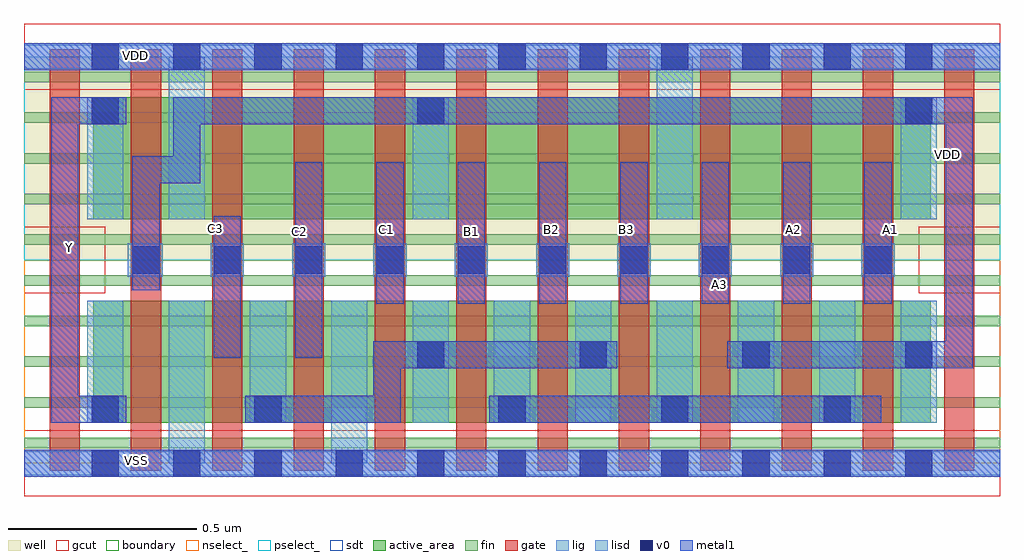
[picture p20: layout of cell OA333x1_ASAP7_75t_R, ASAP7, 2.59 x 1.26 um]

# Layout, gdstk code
import gdstk
lib = gdstk.Library(unit=1e-6, precision=1e-09)
def R(c, l, rs):  # rectangles x0, y0, x1, y1
    for r in rs: c.add(gdstk.rectangle(r[:2], r[2:], *l))
def A(c, l, x, y, w, h, nx, ny, dx, dy):  # array of equal rectangles
    R(c, l, [(x+i*dx, y+j*dy, x+i*dx+w, y+j*dy+h) for i in range(nx) for j in range(ny)])
def P(c, l, *ps):  # polygons
    for p in ps: c.add(gdstk.Polygon(p, *l))
well = (1, 0)
fin = (2, 0)
gate = (7, 0)
gcut = (10, 0)
active_area = (11, 0)
nselect_ = (12, 0)
pselect_ = (13, 0)
lig = (16, 0)
lisd = (17, 0)
v0 = (18, 0)
metal1 = (19, 0)
sdt = (88, 0)
boundary = (100, 0)

oa333x1_asap7_75t_r = lib.new_cell('OA333x1_ASAP7_75t_R')
R(oa333x1_asap7_75t_r, well, [(0,0.54,0.648,1.08), (0.216,0.54,2.592,1.08)])
A(oa333x1_asap7_75t_r, fin, 0, 0.04, 0.648, 0.028, 1, 10, 0, 0.108)
A(oa333x1_asap7_75t_r, fin, 0.216, 0.04, 2.376, 0.028, 1, 10, 0, 0.108)
A(oa333x1_asap7_75t_r, gate, 0.5, -0.02, 0.08, 1.12, 10, 1, 0.216, 0)
R(oa333x1_asap7_75t_r, gate, [(0.068,-0.02,0.148,1.1), (0.284,-0.02,0.364,1.1), (0.284,-0.02,0.364,1.1), (0.284,-0.02,0.364,1.1), (0.5,-0.02,0.58,1.1)])
R(oa333x1_asap7_75t_r, gcut, [(0,-0.088,0.648,0.088), (0.216,-0.088,2.592,0.088), (0.216,-0.088,0.608,0.088), (2.2,-0.088,2.592,0.088), (0,0.452,0.216,0.628), (2.376,0.452,2.592,0.628), (0,0.992,0.648,1.168), (0.216,0.992,2.592,1.168), (0.216,0.992,0.608,1.168), (2.2,0.992,2.592,1.168)])
R(oa333x1_asap7_75t_r, active_area, [(0.184,0.108,2.408,0.432), (0.184,0.648,2.408,0.972)])
R(oa333x1_asap7_75t_r, nselect_, [(0,0,2.592,0.54)])
R(oa333x1_asap7_75t_r, pselect_, [(0,0.54,0.648,1.08), (0.216,0.54,2.592,1.08)])
A(oa333x1_asap7_75t_r, lig, 0.496, 0.496, 0.088, 0.088, 9, 1, 0.216, 0)
R(oa333x1_asap7_75t_r, lig, [(0,-0.032,0.648,0.032), (0.216,-0.032,2.592,0.032), (0.276,0.496,0.368,0.584), (0,1.048,0.648,1.112), (0.216,1.048,2.592,1.112)])
A(oa333x1_asap7_75t_r, lisd, 0.168, 0.108, 0.096, 0.324, 3, 1, 0.432, 0)
A(oa333x1_asap7_75t_r, lisd, 1.248, 0.108, 0.096, 0.324, 6, 1, 0.216, 0)
R(oa333x1_asap7_75t_r, lisd, [(0.384,0,0.48,0.432), (0.816,0,0.912,0.432), (0.168,0.648,0.264,0.972), (0.384,0.648,0.48,1.08), (1.032,0.648,1.128,0.972), (1.68,0.648,1.776,1.08), (2.328,0.648,2.424,0.972)])
A(oa333x1_asap7_75t_r, v0, 0.18, -0.036, 0.072, 0.072, 11, 2, 0.216, 1.08)
A(oa333x1_asap7_75t_r, v0, 1.26, 0.108, 0.072, 0.072, 3, 1, 0.432, 0)
A(oa333x1_asap7_75t_r, v0, 1.044, 0.252, 0.072, 0.072, 4, 1, 0.432, 0)
A(oa333x1_asap7_75t_r, v0, 0.288, 0.504, 0.072, 0.072, 10, 1, 0.216, 0)
R(oa333x1_asap7_75t_r, v0, [(0.18,0.108,0.252,0.18), (0.612,0.108,0.684,0.18), (0.18,0.9,0.252,0.972), (1.044,0.9,1.116,0.972), (2.34,0.9,2.412,0.972)])
A(oa333x1_asap7_75t_r, metal1, 0.936, 0.424, 0.072, 0.376, 7, 1, 0.216, 0)
R(oa333x1_asap7_75t_r, metal1, [(0,-0.036,2.592,0.036), (1.236,0.108,2.276,0.18), (0.504,0.28,0.576,0.656), (0.72,0.28,0.792,0.8), (0,1.044,2.592,1.116)])
P(oa333x1_asap7_75t_r, metal1, [(0.072,0.108),(0.072,0.972),(0.272,0.972),(0.272,0.9),(0.144,0.9),(0.144,0.18),(0.272,0.18),(0.272,0.108)],
  [(1.868,0.252),(1.868,0.324),(2.448,0.324),(2.448,0.9),(0.468,0.9),(0.468,0.744),(0.36,0.744),(0.36,0.46),(0.288,0.46),(0.288,0.816),(0.396,0.816),(0.396,0.972),(2.52,0.972),(2.52,0.252)],
  [(0.588,0.108),(0.588,0.18),(0.928,0.18),(0.928,0.324),(1.576,0.324),(1.576,0.252),(1,0.252),(1,0.108)])
A(oa333x1_asap7_75t_r, sdt, 0.384, 0.108, 0.096, 0.324, 10, 1, 0.216, 0)
A(oa333x1_asap7_75t_r, sdt, 0.384, 0.648, 0.096, 0.324, 4, 1, 0.648, 0)
R(oa333x1_asap7_75t_r, sdt, [(0.168,0.108,0.264,0.432), (0.168,0.108,0.264,0.432), (0.384,0.108,0.48,0.432), (0.168,0.648,0.264,0.972), (0.168,0.648,0.264,0.972), (0.384,0.648,0.48,0.972)])
R(oa333x1_asap7_75t_r, boundary, [(0,0,0.648,1.08), (0.216,0,2.592,1.08)])
oa333x1_asap7_75t_r.add(gdstk.Label('A3', (1.848,0.476), layer=19, texttype=251))
oa333x1_asap7_75t_r.add(gdstk.Label('A2', (2.044,0.62), layer=19, texttype=251))
oa333x1_asap7_75t_r.add(gdstk.Label('C2', (0.732,0.616), layer=19, texttype=251))
oa333x1_asap7_75t_r.add(gdstk.Label('VSS', (0.3,0.008), layer=19, texttype=251))
oa333x1_asap7_75t_r.add(gdstk.Label('VDD', (0.296,1.084), layer=19, texttype=251))
oa333x1_asap7_75t_r.add(gdstk.Label('A1', (2.3,0.62), layer=19, texttype=251))
oa333x1_asap7_75t_r.add(gdstk.Label('B1', (1.188,0.616), layer=19, texttype=251))
oa333x1_asap7_75t_r.add(gdstk.Label('B2', (1.4,0.62), layer=19, texttype=251))
oa333x1_asap7_75t_r.add(gdstk.Label('B3', (1.6,0.62), layer=19, texttype=251))
oa333x1_asap7_75t_r.add(gdstk.Label('C3', (0.508,0.624), layer=19, texttype=251))
oa333x1_asap7_75t_r.add(gdstk.Label('C1', (0.964,0.62), layer=19, texttype=251))
oa333x1_asap7_75t_r.add(gdstk.Label('Y', (0.12,0.572), layer=19, texttype=251))
oa333x1_asap7_75t_r.add(gdstk.Label('VDD', (2.452,0.82), layer=1, texttype=251))
oa333x1_asap7_75t_r.add(gdstk.Label('VSS', (1.48,-0.156), layer=3, texttype=251))

lib.write_gds('OA333x1_ASAP7_75t_R.gds')
